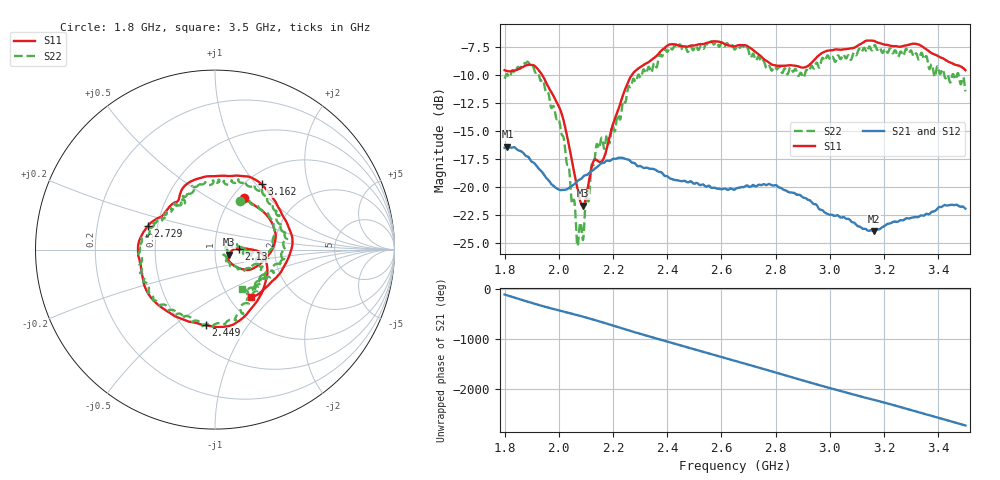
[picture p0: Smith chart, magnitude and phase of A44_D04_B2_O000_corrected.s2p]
! Created with skrf 1.9.0 (http://scikit-rf.org).
# Hz S RI R 50.0
!freq ReS11 ImS11 ReS21 ImS21 ReS12 ImS12 ReS22 ImS22
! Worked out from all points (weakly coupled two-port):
!   1601 points, 1.8 GHz to 3.5 GHz, reference 50 ohm
!   highest |S21| = -16.41 dB at 1.811 GHz (marker M1); lowest = -23.9 dB at 3.161 GHz (marker M2)
!   lowest |S11| = -21.7 dB at 2.09 GHz (marker M3), VSWR 1.18, Z = 58.3 - j3.33 ohm
!   |S11| at or under -10 dB: 1.938 GHz to 2.27 GHz (331.2 MHz wide, 15.7 % of centre)
!   |S22| runs from -25.3 to -7.0 dB; largest |S21 - S12| = 0.0024
!   S11 on the Smith chart (normalised r, x): 1.8 GHz: 1.13, +0.74; 2.13 GHz: 1.30, +0.01; 2.449 GHz: 0.64, -0.66; 2.729 GHz: 0.44, +0.14; 3.162 GHz: 1.17, +1.07; 3.5 GHz: 1.26, -0.75
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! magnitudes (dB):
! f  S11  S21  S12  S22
! 1.8 GHz  -9.6  -16.5  -16.5  -10.3
! 1.811 GHz  -9.7  -16.4  -16.4  -9.9
! 1.884 GHz  -9.1  -17.3  -17.3  -8.8
! 1.942 GHz  -10.2  -18.8  -18.8  -10.5
! 2.013 GHz  -13.6  -20.3  -20.3  -15.4
! 2.067 GHz  -20.0  -19.5  -19.5  -24.9
! 2.084 GHz  -21.5  -19.2  -19.2  -23.6
! 2.09 GHz  -21.7  -19.1  -19.1  -24.7
! 2.13 GHz  -17.6  -18.4  -18.4  -17.9
! 2.166 GHz  -17.4  -17.9  -17.8  -16.5
! 2.266 GHz  -10.1  -17.7  -17.7  -11.0
! 2.367 GHz  -8.1  -18.6  -18.6  -8.6
! 2.449 GHz  -7.4  -19.5  -19.5  -7.4
! 2.65 GHz  -7.5  -20.2  -20.2  -7.7
! 2.729 GHz  -8.0  -19.9  -20.0  -8.7
! 2.798 GHz  -9.2  -19.8  -19.8  -9.3
! 2.934 GHz  -8.9  -21.4  -21.3  -9.2
! 3.161 GHz  -7.0  -23.9  -23.9  -7.5
! 3.162 GHz  -7.0  -23.9  -23.9  -7.5
! 3.217 GHz  -7.4  -23.3  -23.2  -7.8
! 3.343 GHz  -7.5  -22.5  -22.5  -8.3
! 3.5 GHz  -9.6  -21.9  -21.9  -11.5
